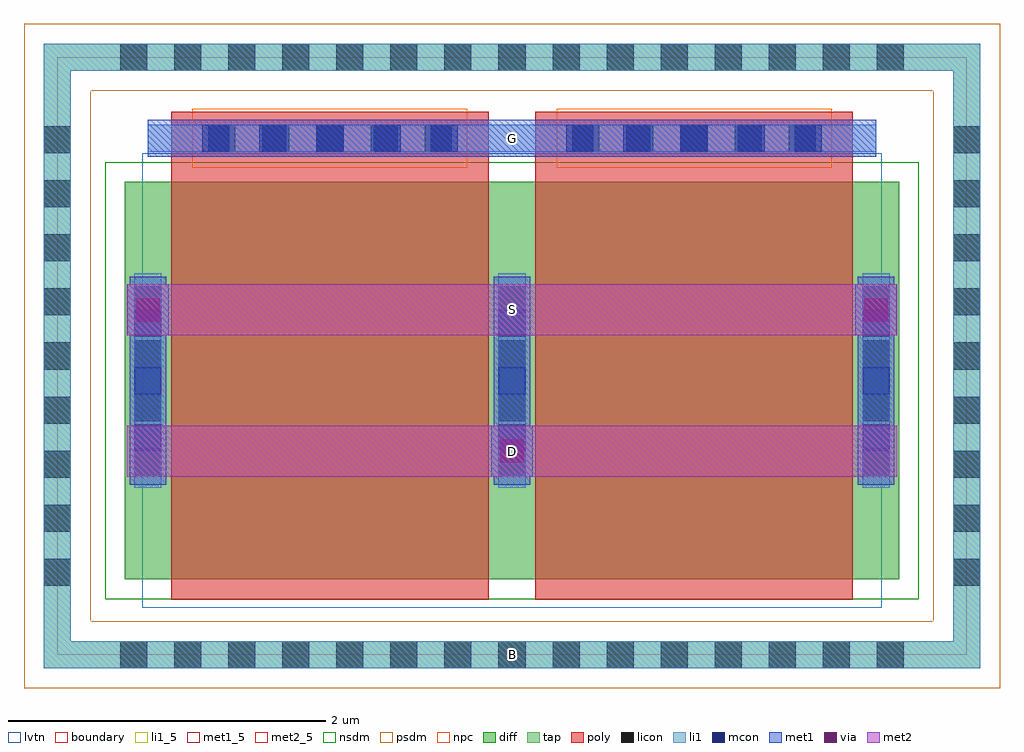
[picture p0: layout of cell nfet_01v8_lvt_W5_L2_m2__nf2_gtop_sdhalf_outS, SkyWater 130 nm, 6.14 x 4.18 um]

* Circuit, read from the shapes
.subckt nfet_01v8_lvt_W5_L2_m2__nf2_gtop_sdhalf_outS B D G S
XM1 D G S B sky130_fd_pr__nfet_01v8_lvt w=2.5 l=2 m=2
.ends

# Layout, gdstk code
import gdstk
lib = gdstk.Library(unit=1e-6, precision=1e-09)
def R(c, l, rs):  # rectangles x0, y0, x1, y1
    for r in rs: c.add(gdstk.rectangle(r[:2], r[2:], *l))
def A(c, l, x, y, w, h, nx, ny, dx, dy):  # array of equal rectangles
    R(c, l, [(x+i*dx, y+j*dy, x+i*dx+w, y+j*dy+h) for i in range(nx) for j in range(ny)])
diff = (65, 20)
tap = (65, 44)
poly = (66, 20)
licon = (66, 44)
li1_5 = (67, 5)
li1 = (67, 20)
mcon = (67, 44)
met1_5 = (68, 5)
met1 = (68, 20)
via = (68, 44)
met2_5 = (69, 5)
met2 = (69, 20)
nsdm = (93, 44)
psdm = (94, 20)
npc = (95, 20)
lvtn = (125, 44)
boundary = (235, 4)

sky130_fd_pr__nfet_01v8_ = lib.new_cell('sky130_fd_pr__nfet_01v8_lvt_7AX6DJ')
R(sky130_fd_pr__nfet_01v8_, diff, [(-2.435,-1.405,2.435,1.095)])
R(sky130_fd_pr__nfet_01v8_, tap, [(-2.945,-1.965,2.945,-1.795), (-2.945,-1.795,-2.775,1.795), (2.775,-1.795,2.945,1.795), (-2.945,1.795,2.945,1.965)])
R(sky130_fd_pr__nfet_01v8_, poly, [(-2.145,-1.535,-0.145,1.535), (0.145,-1.535,2.145,1.535)])
A(sky130_fd_pr__nfet_01v8_, licon, -2.465, -1.965, 0.17, 0.17, 15, 2, 0.34, 3.76)
A(sky130_fd_pr__nfet_01v8_, licon, -2.945, -1.445, 0.17, 0.17, 1, 9, 0, 0.34)
A(sky130_fd_pr__nfet_01v8_, licon, 2.775, -1.445, 0.17, 0.17, 1, 9, 0, 0.34)
A(sky130_fd_pr__nfet_01v8_, licon, -2.375, -0.75, 0.17, 0.17, 3, 4, 2.29, 0.34)
A(sky130_fd_pr__nfet_01v8_, licon, -1.91, 1.285, 0.17, 0.17, 5, 1, 0.34, 0)
A(sky130_fd_pr__nfet_01v8_, licon, 0.38, 1.285, 0.17, 0.17, 5, 1, 0.34, 0)
A(sky130_fd_pr__nfet_01v8_, li1, -2.375, -0.83, 0.17, 1.35, 3, 1, 2.29, 0)
R(sky130_fd_pr__nfet_01v8_, li1, [(-2.945,-1.965,2.945,-1.795), (-2.945,-1.795,-2.775,1.795), (2.775,-1.795,2.945,1.795), (-2.29,1.285,2.29,1.455), (-2.945,1.795,2.945,1.965)])
A(sky130_fd_pr__nfet_01v8_, mcon, -2.375, -0.6, 0.17, 0.17, 3, 3, 2.29, 0.36)
A(sky130_fd_pr__nfet_01v8_, mcon, -1.95, 1.285, 0.17, 0.17, 5, 1, 0.36, 0)
A(sky130_fd_pr__nfet_01v8_, mcon, 0.34, 1.285, 0.17, 0.17, 5, 1, 0.36, 0)
A(sky130_fd_pr__nfet_01v8_, met1, -2.405, -0.81, 0.23, 1.31, 3, 1, 2.29, 0)
R(sky130_fd_pr__nfet_01v8_, met1, [(-2.125,1.255,-0.165,1.285), (0.165,1.255,2.125,1.285), (-2.29,1.285,2.29,1.455), (-2.125,1.455,-0.165,1.485), (0.165,1.455,2.125,1.485)])
R(sky130_fd_pr__nfet_01v8_, nsdm, [(-2.56,-1.53,2.56,1.22)])
R(sky130_fd_pr__nfet_01v8_, psdm, [(-3.07,-2.09,3.07,-1.67), (-3.07,-1.67,-2.65,1.67), (2.65,-1.67,3.07,1.67), (-3.07,1.67,3.07,2.09)])
R(sky130_fd_pr__nfet_01v8_, npc, [(-2.01,1.185,-0.28,1.555), (0.28,1.185,2.01,1.555)])
R(sky130_fd_pr__nfet_01v8_, lvtn, [(-2.325,-1.585,2.325,1.275)])
R(sky130_fd_pr__nfet_01v8_, boundary, [(-2.86,-1.88,2.86,1.88)])
sky130_fd_pr__nfet_01v8_.add(gdstk.Label('B', (0,-1.88), layer=67, texttype=5))
sky130_fd_pr__nfet_01v8_.add(gdstk.Label('D0', (-2.29,-0.155), layer=67, texttype=5))
sky130_fd_pr__nfet_01v8_.add(gdstk.Label('G', (1.145,1.37), layer=67, texttype=5))
sky130_fd_pr__nfet_01v8_.add(gdstk.Label('G', (-1.145,1.37), layer=67, texttype=5))
sky130_fd_pr__nfet_01v8_.add(gdstk.Label('S1', (0,-0.155), layer=67, texttype=5))

nfet_01v8_lvt_w5_l2_m2__ = lib.new_cell('nfet_01v8_lvt_W5_L2_m2__nf2_gtop_sdhalf_outS')
R(nfet_01v8_lvt_w5_l2_m2__, li1_5, [(2.775,-0.085,2.945,0.085)])
R(nfet_01v8_lvt_w5_l2_m2__, li1, [(2.775,-0.085,2.945,0.085)])
R(nfet_01v8_lvt_w5_l2_m2__, met1_5, [(0.57,3.135,5.15,3.365)])
R(nfet_01v8_lvt_w5_l2_m2__, met1, [(2.73,1.12,2.99,1.44), (0.44,2.01,0.7,2.33), (5.02,2.01,5.28,2.33), (0.57,3.135,5.15,3.365)])
R(nfet_01v8_lvt_w5_l2_m2__, via, [(2.785,1.205,2.935,1.355), (0.495,2.095,0.645,2.245), (5.075,2.095,5.225,2.245)])
R(nfet_01v8_lvt_w5_l2_m2__, met2_5, [(0.435,1.12,5.285,1.44), (0.435,2.01,5.285,2.33)])
R(nfet_01v8_lvt_w5_l2_m2__, met2, [(0.435,1.12,5.285,1.44), (0.435,2.01,5.285,2.33)])
nfet_01v8_lvt_w5_l2_m2__.add(gdstk.Reference(sky130_fd_pr__nfet_01v8_, (2.86,1.88)))
nfet_01v8_lvt_w5_l2_m2__.add(gdstk.Label('S', (2.86,2.17), layer=69, texttype=5))
nfet_01v8_lvt_w5_l2_m2__.add(gdstk.Label('D', (2.86,1.28), layer=69, texttype=5))
nfet_01v8_lvt_w5_l2_m2__.add(gdstk.Label('G', (2.86,3.25), layer=68, texttype=5))
nfet_01v8_lvt_w5_l2_m2__.add(gdstk.Label('B', (2.86,0), layer=67, texttype=5))

lib.write_gds('nfet_01v8_lvt_W5_L2_m2__nf2_gtop_sdhalf_outS.gds')
